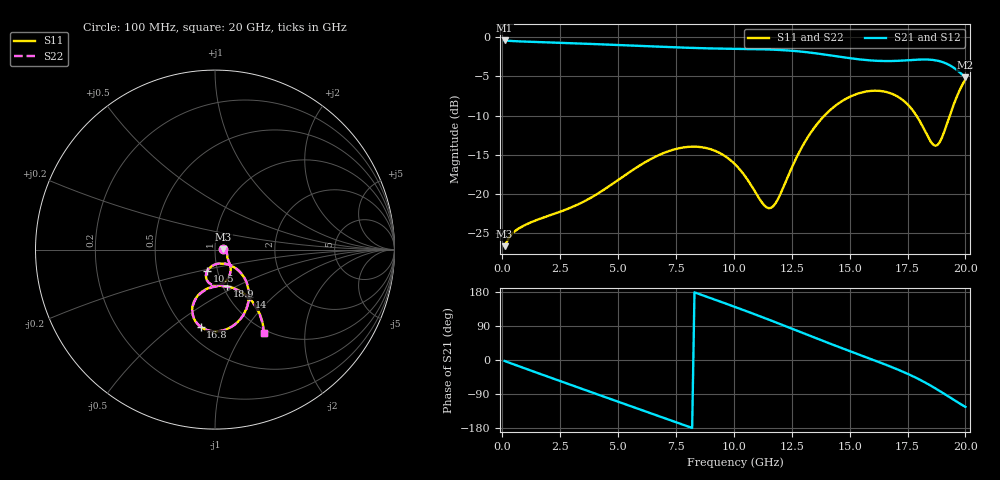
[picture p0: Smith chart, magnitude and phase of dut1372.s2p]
! Touchstone file exported from HFSS 2026.1.0
!  File:  C:/ffzhzh/LocalFiles/Ansys_Project_Files/temp_train_TSV_RDL_1372_1783346063_4416.aedt
!  Generated:  10:37:21 PM Jul  6, 2026
!  Design:  TSV_RDL
!  Project:  temp_train_TSV_RDL_1372_1783346063_4416
! Variables:
!  h_bsmrdl = 2.12um
!  h_ox = 20um
!  h_rdl = 5um
!  h_sub = 59.87um
!  h_tmrdl = 5.41um
!  h_tsv = 59.87um
!  h_via = 3um
!  l_bsmrdl = 919.53um
!  l_sub = 6453.3um
!  l_tmrdl = 795.83um
!  m_sub = 200um
!  pitch = 25.56um
!  r_tsv = 4.24um
!  s_tmrdl = 10um
!  w_bsmrdl = 13.05um
!  w_sub = 500um
!  w_tmrdl = 24.08um
!  x_tsv_center1 = 807.87um
!  x_tsv_center2 = 1740.45um
!  x_tsv_center3 = 2560.36um
!  x_tsv_center4 = 3492.94um
!  x_tsv_center5 = 4312.85um
!  x_tsv_center6 = 5245.43um
# GHz S MA R 50.000000
! Terminal data exported
! Port[1] = TM_RDL1_1_T1
! Port[2] = TM_RDL5_1_T1
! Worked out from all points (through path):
!   200 points, 100 MHz to 20 GHz, reference 50 ohm
!   highest |S21| = -0.41 dB at 100 MHz (marker M1); lowest = -5.1 dB at 20 GHz (marker M2)
!   group delay of S21, straight-line fit = 64.2 ps
!   lowest |S11| = -26.7 dB at 100 MHz (marker M3), VSWR 1.10, Z = 54.8 + j0.39 ohm
!   |S11| at or under -10 dB: start of sweep to 13.92 GHz; 17.88 GHz to 19.32 GHz (1.442 GHz wide, 7.75 % of centre)
!   |S22| runs from -26.7 to -5.4 dB; largest |S21 - S12| = 1.5e-14
!   S11 on the Smith chart (normalised r, x): 100 MHz: 1.10, +0.01; 10.5 GHz: 0.89, -0.22; 14 GHz: 1.23, -0.73; 16.8 GHz: 0.60, -0.64; 18.9 GHz: 1.04, -0.45; 20 GHz: 0.95, -1.25
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0.1  0.04633 4.4  0.954 -2.5  0.954 -2.5  0.04633 4.4
! Gamma 0 0 0 0
! Port Impedance 50 0 50 0
1  0.06341 -6.5  0.9377 -22.7  0.9377 -22.7  0.06342 -6.5
2  0.07247 -22.0  0.9269 -44.7  0.9269 -44.7  0.0725 -22.0
3.5  0.08896 -36.2  0.9102 -77.4  0.9102 -77.4  0.08902 -36.3
4.3  0.1042 -41.3  0.9008 -94.8  0.9008 -94.8  0.1043 -41.4
5.1  0.1254 -47.3  0.8913 -112.2  0.8913 -112.2  0.1255 -47.4
6.8  0.1779 -66.4  0.8703 -149.0  0.8703 -149.0  0.1779 -66.5
8.4  0.1999 -89.4  0.8531 176.3  0.8531 176.3  0.1999 -89.5
10.1  0.1517 -109.4  0.8432 138.9  0.8432 138.9  0.1515 -109.6
10.5  0.1287 -110.0  0.8417 129.9  0.8417 129.9  0.1283 -110.3
11.6  0.08136 -74.8  0.8345 104.4  0.8345 104.4  0.08044 -74.8
12.5  0.1467 -42.7  0.82 82.9  0.82 82.9  0.1461 -42.3
13.4  0.2555 -46.5  0.7945 61.2  0.7945 61.2  0.2552 -46.2
14  0.3257 -54.7  0.7726 46.9  0.7726 46.9  0.3255 -54.5
15.3  0.4339 -76.1  0.7259 16.7  0.7259 16.7  0.4339 -75.9
16.7  0.4423 -99.1  0.7048 -15.7  0.7048 -15.7  0.4426 -98.8
16.8  0.4372 -100.6  0.705 -18.2  0.705 -18.2  0.4375 -100.3
17.9  0.3135 -112.0  0.7187 -47.9  0.7187 -47.9  0.3146 -111.6
18.6  0.2066 -93.1  0.7164 -71.1  0.7164 -71.1  0.209 -92.9
18.9  0.2148 -72.1  0.7025 -82.1  0.7025 -82.1  0.2174 -72.2
19.4  0.3404 -54.6  0.6524 -101.4  0.6524 -101.4  0.3422 -54.9
20  0.5378 -59.6  0.5534 -123.8  0.5534 -123.8  0.5388 -59.8
